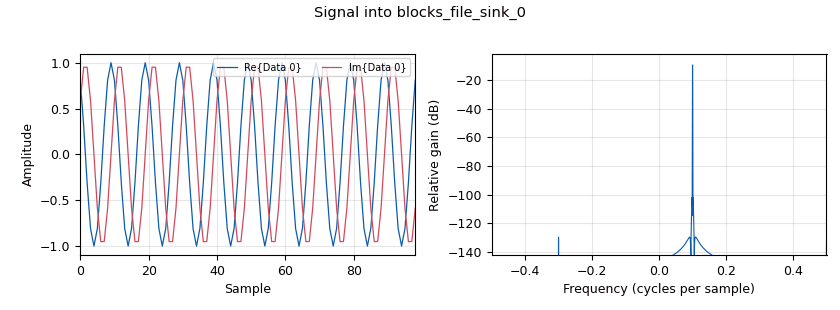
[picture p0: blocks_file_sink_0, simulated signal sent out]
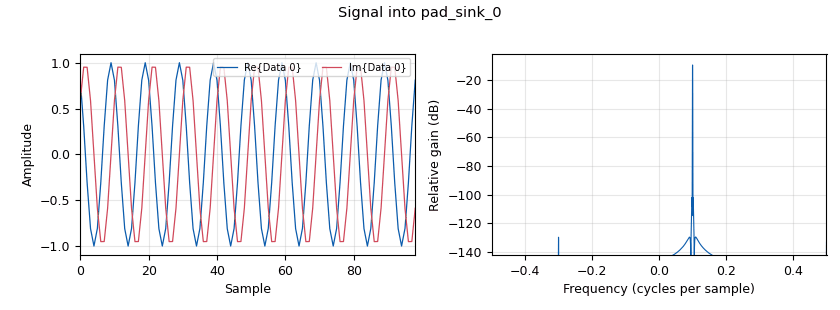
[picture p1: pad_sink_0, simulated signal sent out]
options:
  parameters:
    generate_options: hb
    id: test_core
    output_language: python
    title: Test Core
  states: {}

blocks:
- name: analog_sig_source_x_0
  id: analog_sig_source_x
  parameters:
    amp: '1'
    freq: '1000'
    offset: '0'
    phase: '0'
    samp_rate: samp_rate
    type: complex
    waveform: analog.GR_COS_WAVE
  states: {}
- name: blocks_file_sink_0
  id: blocks_file_sink
  parameters:
    file: /tmp/gnuradio_test.txt
    type: complex
  states: {}
- name: blocks_throttle2_0
  id: blocks_throttle2
  parameters:
    samples_per_second: samp_rate
    type: complex
  states: {}
- name: pad_sink_0
  id: pad_sink
  parameters:
    label: out
    type: complex
  states: {}
- name: samp_rate
  id: parameter
  parameters:
    type: eng_float
    value: '10000'
  states: {}

connections:
- [analog_sig_source_x_0, '0', blocks_throttle2_0, '0']
- [blocks_throttle2_0, '0', blocks_file_sink_0, '0']
- [blocks_throttle2_0, '0', pad_sink_0, '0']

metadata:
  file_format: 1
  grc_version: 3.10.9.2
